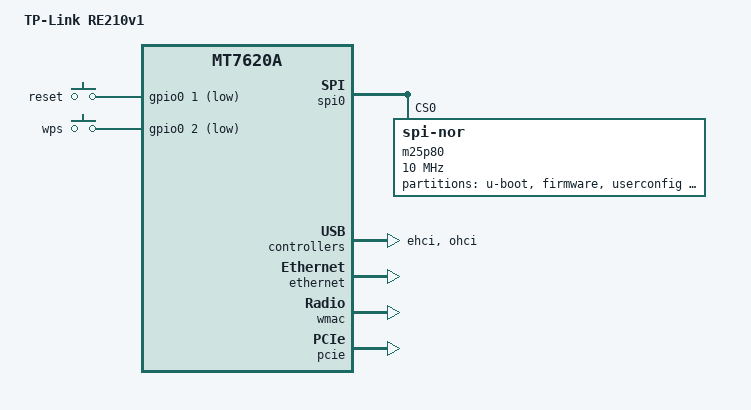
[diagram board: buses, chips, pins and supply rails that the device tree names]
/dts-v1/;

#include "mt7620a.dtsi"

#include <dt-bindings/gpio/gpio.h>
#include <dt-bindings/input/input.h>

/ {
	compatible = "tplink,re210v1", "ralink,mt7620a-soc";
	model = "TP-Link RE210v1";

	aliases {

	};

	chosen {
		bootargs = "console=ttyS0,57600n8";
	};
	
	pinctrl {
		state_default: pinctrl0 {
			gpio {
				ralink,group = "mdio", "i2c", "uartf", "wled", "ephy", "spi refclk";
				ralink,function = "gpio";
			};
		};
	};

	leds {
		compatible = "gpio-leds";

	};

	keys {
		compatible = "gpio-keys";

		reset {
			label = "reset";
			gpios = <&gpio0 1 GPIO_ACTIVE_LOW>;
			linux,code = <KEY_RESTART>;
		};

		wps {
			label = "wps";
			gpios = <&gpio0 2 GPIO_ACTIVE_LOW>;
			linux,code = <KEY_WPS_BUTTON>;
		};
	};

	gpio_export {
		compatible = "gpio-export";
		#size-cells = <0>;
	};
};

&spi0 {
	status = "okay";

	m25p80@0 {
		compatible = "jedec,spi-nor";
		reg = <0>;
		spi-max-frequency = <10000000>;

		partitions {
			compatible = "fixed-partitions";
			#address-cells = <1>;
			#size-cells = <1>;

			partition@0 {
				label = "u-boot";
				reg = <0x0 0x20000>;
				read-only;
			};

			partition@20000 {
				compatible = "tplink,firmware";
				label = "firmware";
				reg = <0x20000 0x7d0000>;
			};

			userconfig: partition@7e0000 {
				label = "userconfig";
				reg = <0x7e0000 0x010000>;
				read-only;
			};

			art: partition@7f0000 {
				label = "art";
				reg = <0x7f0000 0x010000>;
				read-only;
			};
		};
	};
};

&ehci {
	status = "okay";
};

&ohci {
	status = "okay";
};

&gpio3 {
	status = "okay";
};

&ethernet {
	status = "okay";
	pinctrl-names = "default";
	pinctrl-0 = <&rgmii1_pins &rgmii2_pins &mdio_pins>;
	
	port@5 {
		status = "okay";
		mediatek,fixed-link = <1000 1 1 1>;
		phy-mode = "rgmii";
	};

	mdio0: mdio-bus {
		status = "okay";
	};
};

&wmac {
	ralink,mtd-eeprom = <&art 0>;
};

&pcie {
	status = "okay";
};

&pcie0 {
	wifi@0,0 {
		reg = <0x0000 0 0 0 0>;
		mediatek,mtd-eeprom = <&art 0x8000>;
	};
};
